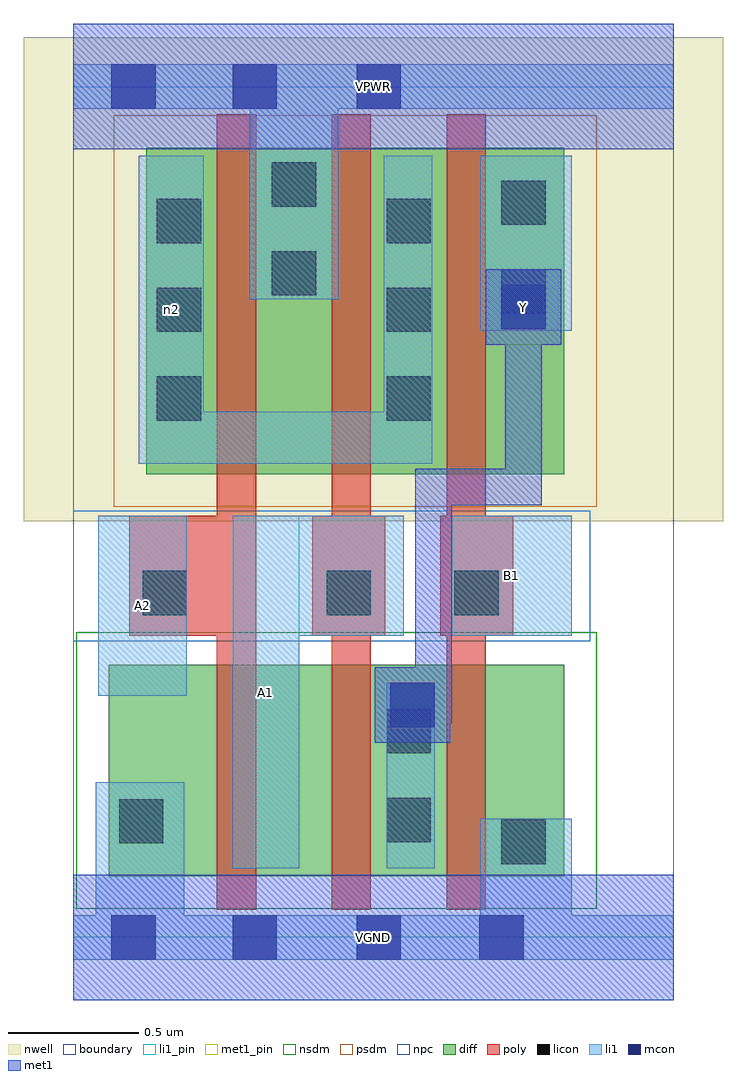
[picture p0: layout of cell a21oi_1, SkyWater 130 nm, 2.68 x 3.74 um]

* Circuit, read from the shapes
.subckt a21oi_1 A1 A2 B1 VGND VPWR Y n2
XM1 n1 A2 VGND VSUBS sky130_fd_pr__nfet_01v8 w=0.81 l=0.15
XM2 Y A1 n1 VSUBS sky130_fd_pr__nfet_01v8 w=0.81 l=0.15
XM3 VGND B1 Y VSUBS sky130_fd_pr__nfet_01v8 w=0.81 l=0.15
XM4 VPWR A2 n2 n3 sky130_fd_pr__pfet_01v8 w=1.25 l=0.15
XM5 n2 A1 VPWR n3 sky130_fd_pr__pfet_01v8 w=1.25 l=0.15
XM6 Y B1 n2 n3 sky130_fd_pr__pfet_01v8 w=1.25 l=0.15
.ends

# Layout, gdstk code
import gdstk
lib = gdstk.Library(unit=1e-6, precision=1e-09)
def R(c, l, rs):  # rectangles x0, y0, x1, y1
    for r in rs: c.add(gdstk.rectangle(r[:2], r[2:], *l))
def A(c, l, x, y, w, h, nx, ny, dx, dy):  # array of equal rectangles
    R(c, l, [(x+i*dx, y+j*dy, x+i*dx+w, y+j*dy+h) for i in range(nx) for j in range(ny)])
nwell = (64, 20)
diff = (65, 20)
poly = (66, 20)
licon = (66, 44)
li1_pin = (67, 16)
li1 = (67, 20)
mcon = (67, 44)
met1_pin = (68, 16)
met1 = (68, 20)
nsdm = (93, 44)
psdm = (94, 20)
npc = (95, 20)
boundary = (235, 4)

a21oi_1 = lib.new_cell('a21oi_1')
R(a21oi_1, nwell, [(-0.19,1.595,2.49,3.45), (0,1.595,2.3,3.45)])
R(a21oi_1, diff, [(0.135,0.235,1.88,1.045), (0.28,1.775,1.88,3.025)])
A(a21oi_1, poly, 0.55, 0.105, 0.15, 3.05, 3, 1, 0.44, 0)
R(a21oi_1, poly, [(0.215,1.155,0.7,1.615), (0.915,1.155,1.195,1.615), (1.405,1.155,1.685,1.615)])
A(a21oi_1, licon, 0.32, 1.98, 0.17, 0.17, 1, 3, 0, 0.34)
A(a21oi_1, licon, 1.2, 1.98, 0.17, 0.17, 1, 3, 0, 0.34)
R(a21oi_1, licon, [(1.64,0.28,1.81,0.45), (0.175,0.36,0.345,0.53), (1.2,0.365,1.37,0.535), (1.2,0.705,1.37,0.875), (0.265,1.235,0.435,1.405), (0.97,1.235,1.14,1.405), (1.46,1.235,1.63,1.405), (1.64,2.39,1.81,2.56), (0.76,2.46,0.93,2.63), (1.64,2.73,1.81,2.9), (0.76,2.8,0.93,2.97)])
R(a21oi_1, li1_pin, [(0.61,0.265,0.865,1.615), (0.095,0.925,0.435,1.615), (1.45,1.155,1.91,1.615)])
R(a21oi_1, li1, [(0,-0.085,2.3,0.085), (0.085,-0.085,0.425,0.595), (1.56,-0.085,1.91,0.455), (0.61,0.265,0.865,1.615), (1.2,0.265,1.385,0.975), (0.095,0.925,0.435,1.615), (0.61,1.155,1.265,1.615), (1.45,1.155,1.91,1.615), (0.25,1.815,0.5,2.995), (0.25,1.815,1.375,2.015), (1.19,1.815,1.375,2.995), (1.56,2.325,1.91,2.995), (0.675,2.445,1.015,3.345), (0,3.175,2.3,3.345)])
R(a21oi_1, mcon, [(0.145,-0.085,0.315,0.085), (0.61,-0.085,0.78,0.085), (1.085,-0.085,1.255,0.085), (1.555,-0.085,1.725,0.085), (1.215,0.805,1.385,0.975), (1.64,2.33,1.81,2.5), (0.145,3.175,0.315,3.345), (0.61,3.175,0.78,3.345), (1.085,3.175,1.255,3.345)])
R(a21oi_1, met1_pin, [(0,-0.24,2.3,0.24), (1.58,2.27,1.87,2.56), (0,3.02,2.3,3.5)])
R(a21oi_1, met1, [(0,-0.24,2.3,0.24), (1.155,0.745,1.445,1.035), (1.23,0.82,1.45,0.96), (1.31,0.82,1.45,1.105), (1.31,0.965,1.45,1.795), (1.31,1.655,1.795,1.795), (1.655,1.655,1.795,2.485), (1.58,2.27,1.87,2.56), (0,3.02,2.3,3.5)])
R(a21oi_1, nsdm, [(0.01,0.11,2.005,1.17)])
R(a21oi_1, psdm, [(0.155,1.65,2.005,3.15)])
R(a21oi_1, npc, [(0,1.135,1.98,1.635)])
R(a21oi_1, boundary, [(0,0,2.3,3.26)])
a21oi_1.add(gdstk.Label('A1', (0.737,0.94), layer=67, texttype=5))
a21oi_1.add(gdstk.Label('A2', (0.265,1.27), layer=67, texttype=5))
a21oi_1.add(gdstk.Label('B1', (1.68,1.385), layer=67, texttype=5))
a21oi_1.add(gdstk.Label('n2', (0.375,2.405), layer=67, texttype=5))
a21oi_1.add(gdstk.Label('Y', (1.725,2.415), layer=68, texttype=5))
a21oi_1.add(gdstk.Label('VPWR', (1.15,3.26), layer=68, texttype=5))
a21oi_1.add(gdstk.Label('VGND', (1.15,0), layer=68, texttype=5))
a21oi_1.add(gdstk.Label('A1', (0.737,0.94), layer=67, texttype=16))
a21oi_1.add(gdstk.Label('A2', (0.265,1.27), layer=67, texttype=16))
a21oi_1.add(gdstk.Label('B1', (1.68,1.385), layer=67, texttype=16))
a21oi_1.add(gdstk.Label('Y', (1.725,2.415), layer=68, texttype=16))
a21oi_1.add(gdstk.Label('VPWR', (1.15,3.26), layer=68, texttype=16))
a21oi_1.add(gdstk.Label('VGND', (1.15,0), layer=68, texttype=16))

lib.write_gds('a21oi_1.gds')
